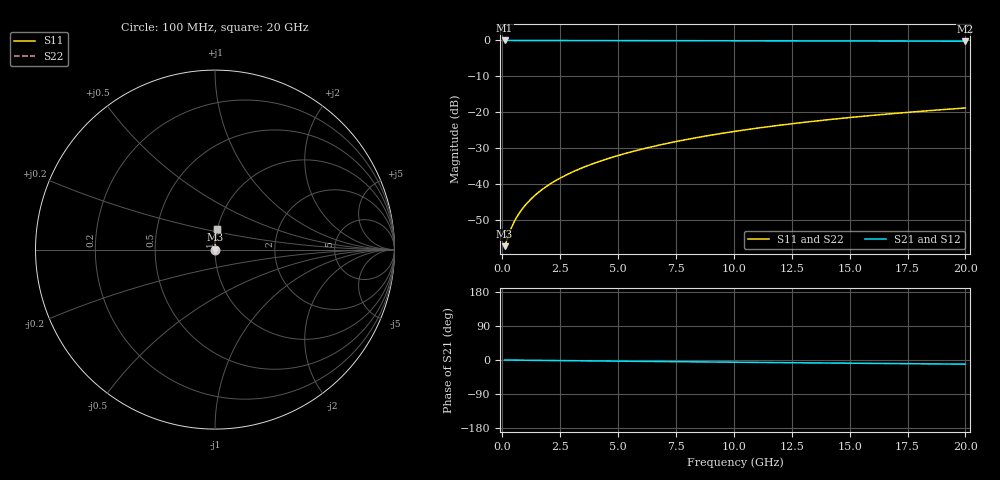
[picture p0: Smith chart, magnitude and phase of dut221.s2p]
! Touchstone file exported from HFSS 2024.1.0
!  File:  C:/UserFiles/LocalFiles/RDL_TSV_Batchsim/temp_RDL_top_221_1778687788.aedt
!  Generated:  11:58:26 PM May 13, 2026
!  Design:  RDL_top
!  Project:  temp_RDL_top_221_1778687788
!  Setup:  Setup1
!  Solution:  Sweep
! Variables:
!  dtsv = 10.80580581um
!  hbump = 3um
!  htsv = 53.54um
!  ldown = 100um
!  lrdl = 139.46um
!  p = 40
!  p1 = 41.29um
!  rhole = 1um
!  t = 450um
!  tdown = 3.915915916um
!  trdl = 2.37um
!  wdown = 15.38538539um
!  wrdl = 23.25um
# GHz S MA R 50.000000
! Terminal data exported
! Port[1] = Box2_T1
! Port[2] = Box2_T2
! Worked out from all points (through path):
!   200 points, 100 MHz to 20 GHz, reference 50 ohm
!   highest |S21| = -0.01 dB at 100 MHz (marker M1); lowest = -0.2 dB at 20 GHz (marker M2)
!   group delay of S21, straight-line fit = 1.51 ps
!   lowest |S11| = -57.2 dB at 100 MHz (marker M3), VSWR 1.00, Z = 50.1 + j0.0549 ohm
!   |S11| at or under -10 dB: start of sweep to end of sweep
!   |S22| runs from -57.2 to -18.8 dB; largest |S21 - S12| = 6.3e-15
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0.1  0.001382 23.3  0.9987 -0.1  0.9987 -0.1  0.001382 23.3
! Gamma 0 0 0 0
! Port Impedance 50 0 50 0
0.3  0.002089 50.0  0.9986 -0.2  0.9986 -0.2  0.002089 50.0
0.4  0.002517 56.6  0.9986 -0.3  0.9986 -0.3  0.002517 56.6
0.6  0.003393 64.7  0.9984 -0.4  0.9984 -0.4  0.003393 64.7
0.7  0.003833 67.4  0.9984 -0.5  0.9984 -0.5  0.003833 67.4
0.9  0.00472 71.5  0.9983 -0.6  0.9983 -0.6  0.00472 71.5
1.2  0.00607 75.8  0.9981 -0.8  0.9981 -0.8  0.00607 75.8
1.4  0.006985 77.9  0.998 -0.9  0.998 -0.9  0.006985 77.9
1.7  0.008379 80.3  0.9978 -1.1  0.9978 -1.1  0.008379 80.3
2.2  0.01076 83.2  0.9975 -1.4  0.9975 -1.4  0.01076 83.2
2.8  0.01369 85.5  0.997 -1.7  0.997 -1.7  0.01369 85.5
3.5  0.01721 87.3  0.9963 -2.2  0.9963 -2.2  0.01721 87.3
4.2  0.02085 88.6  0.9956 -2.6  0.9956 -2.6  0.02085 88.6
5  0.02513 89.5  0.9946 -3.1  0.9946 -3.1  0.02513 89.5
5.9  0.03011 90.2  0.9934 -3.6  0.9934 -3.6  0.03011 90.1
6.8  0.03523 90.5  0.9922 -4.1  0.9922 -4.1  0.03523 90.5
8.4  0.04461 90.4  0.9901 -5.0  0.9901 -5.0  0.04461 90.4
10.1  0.05483 89.9  0.9878 -5.9  0.9878 -5.9  0.05483 89.9
11.7  0.06458 89.1  0.9857 -6.7  0.9857 -6.7  0.06458 89.1
13.4  0.07499 88.1  0.9835 -7.6  0.9835 -7.6  0.07499 88.1
16.7  0.09516 86.0  0.9795 -9.3  0.9795 -9.3  0.09516 86.0
20  0.1151 83.9  0.9756 -11.0  0.9756 -11.0  0.1151 83.9
